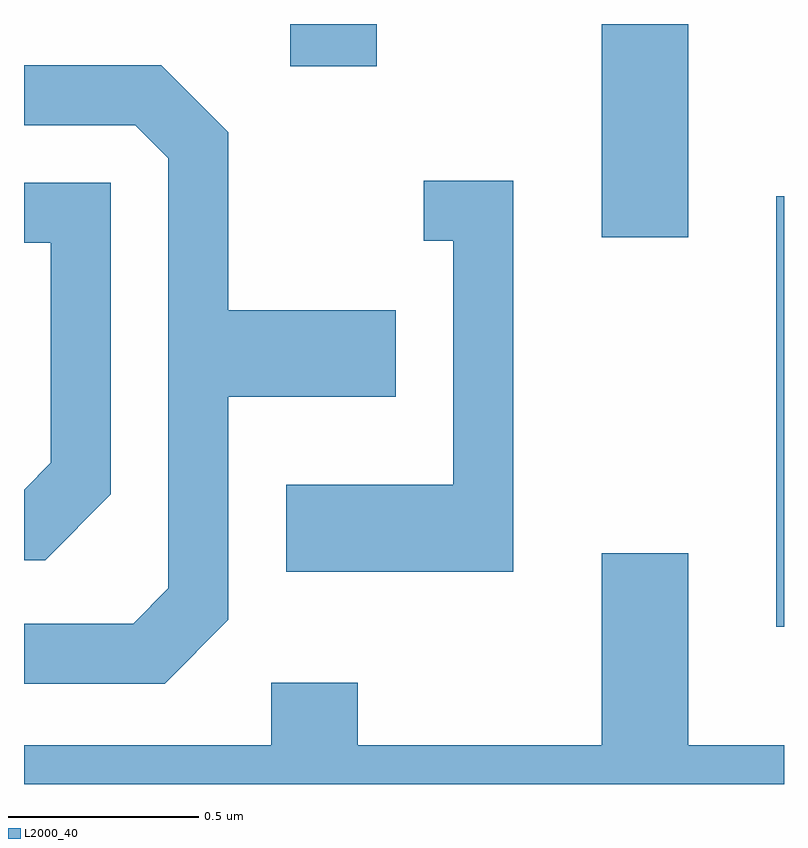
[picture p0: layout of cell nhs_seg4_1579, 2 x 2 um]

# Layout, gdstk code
import gdstk
lib = gdstk.Library(unit=1e-6, precision=1e-09)
def R(c, l, rs):  # rectangles x0, y0, x1, y1
    for r in rs: c.add(gdstk.rectangle(r[:2], r[2:], *l))
def P(c, l, *ps):  # polygons
    for p in ps: c.add(gdstk.Polygon(p, *l))
L2000_40 = (2000, 40)

nhs_seg4_1579 = lib.new_cell('nhs_seg4_1579')
R(nhs_seg4_1579, L2000_40, [(198.591,1326.396,198.611,1327.529), (198.131,1327.421,198.359,1327.982), (197.311,1327.871,197.539,1327.982)])
P(nhs_seg4_1579, L2000_40, [(197.149,1326.414),(197.149,1327.001),(197.589,1327.001),(197.589,1327.229),(197.149,1327.229),(197.149,1327.697),(196.972,1327.874),(196.611,1327.874),(196.611,1327.716),(196.904,1327.716),(196.991,1327.629),(196.991,1326.497),(196.899,1326.404),(196.611,1326.404),(196.611,1326.246),(196.982,1326.246)],
  [(197.899,1327.569),(197.663,1327.569),(197.663,1327.411),(197.741,1327.411),(197.741,1326.769),(197.301,1326.769),(197.301,1326.541),(197.899,1326.541)],
  [(196.839,1326.744),(196.839,1327.564),(196.611,1327.564),(196.611,1327.406),(196.681,1327.406),(196.681,1326.827),(196.611,1326.756),(196.611,1326.571),(196.667,1326.571)],
  [(198.611,1326.084),(198.359,1326.084),(198.359,1326.589),(198.131,1326.589),(198.131,1326.084),(197.489,1326.084),(197.489,1326.249),(197.261,1326.249),(197.261,1326.084),(196.611,1326.084),(196.611,1325.982),(198.611,1325.982)])

lib.write_gds('nhs_seg4_1579.gds')
